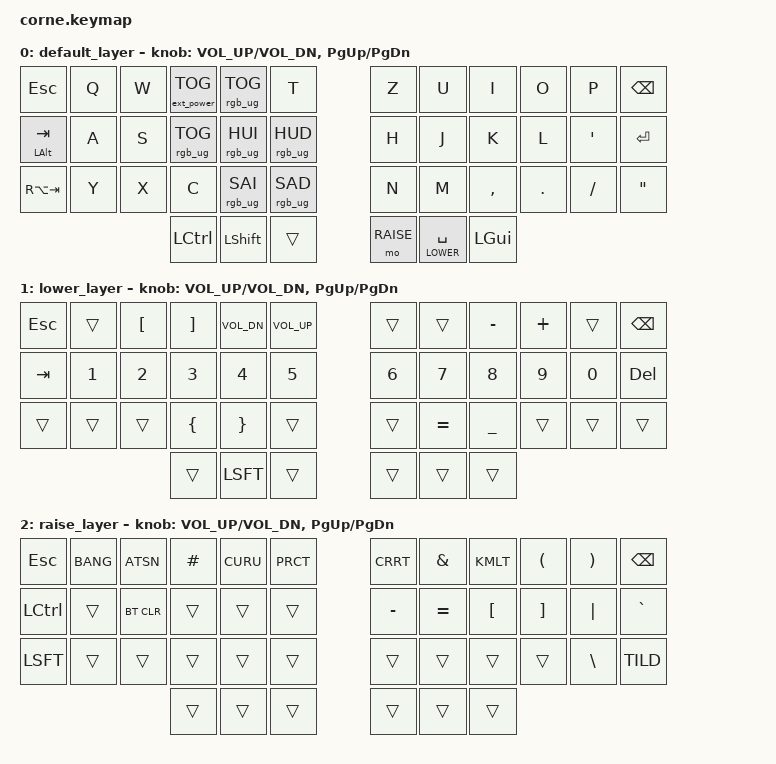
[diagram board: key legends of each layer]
#include <behaviors.dtsi>
#include <dt-bindings/zmk/keys.h>
#include <dt-bindings/zmk/bt.h>
#include <dt-bindings/zmk/rgb.h>
#include <dt-bindings/zmk/ext_power.h>


#define DEFAULT 0
#define LOWER   1
#define RAISE   2

&left_encoder { resolution = <2>; };
&left1_encoder { resolution = <2>; };
// &right_encoder { resolution = <1>; };


/ {
        keymap {
                compatible = "zmk,keymap";

                default_layer {
// -----------------------------------------------------------------------------------------
// |  TAB |  Q  |  W  |  E  |  R  |  T  |   |  Y  |  U   |  I  |  O  |  P  | BKSP |
// | CTRL |  A  |  S  |  D  |  F  |  G  |   |  H  |  J   |  K  |  L  |  ;  |  '   |
// | SHFT |  Z  |  X  |  C  |  V  |  B  |   |  N  |  M   |  ,  |  .  |  /  | SHFT |
//                    | GUI | LWR | SPC |   | ENT | RSE  | ALT |
                        bindings = <
   &kp ESC  &kp Q &kp W &ext_power EP_TOG &rgb_ug RGB_TOG &kp T   &kp Z &kp U  &kp I    &kp O   &kp P    &kp BKSP
   &mt LALT TAB &kp A &kp S &rgb_ug RGB_TOG &rgb_ug RGB_HUI &rgb_ug RGB_HUD   &kp H &kp J  &kp K    &kp L   &kp APOS &kp RET
   &kp RA(TAB) &kp Y &kp X &kp C &rgb_ug RGB_SAI &rgb_ug RGB_SAD   &kp N &kp M  &kp CMMA &kp DOT &kp FSLH &kp DQT
                   &kp LCTRL &kp LSHFT &trans   &mo RAISE &lt LOWER SPACE &kp LGUI
                        >;
                        sensor-bindings = <&inc_dec_kp C_VOL_UP C_VOL_DN &inc_dec_kp PG_UP PG_DN>;
                };
                lower_layer {
// -----------------------------------------------------------------------------------------
// |  ESC |  1  |  2  |  3  |  4  |  5  |   |  6  |  7  |  8  |  9  |  0  | BKSP |
// | BTCLR| BT1 | BT2 | BT3 | BT4 | BT5 |   | LFT | DWN |  UP | RGT |     |      |
// | SHFT |     |     |     |     |     |   |     |     |     |     |     |      |
//                    | GUI |     | SPC |   | ENT |     | ALT |
                        bindings = <
   &kp ESC    &trans     &kp LBKT       &kp RBKT     &kp C_VOL_DN   &kp C_VOL_UP         &trans &trans  &kp MINUS &kp PLUS  &trans  &kp BKSP
   &kp TAB     &kp NUM_1    &kp NUM_2    &kp NUM_3    &kp NUM_4    &kp NUM_5         &kp NUM_6 &kp NUM_7 &kp NUM_8 &kp NUM_9 &kp NUM_0 &kp DEL
   &trans   &trans       &trans       &kp LBRC       &kp RBRC &trans         &trans    &kp EQUAL  &kp UNDER     &trans  &trans    &trans
                                        &trans     &kp LSFT     &trans           &trans   &trans    &trans
                        >;
                        sensor-bindings = <&inc_dec_kp C_VOL_UP C_VOL_DN &inc_dec_kp PG_UP PG_DN>;
                };

                raise_layer {
// -----------------------------------------------------------------------------------------
// |  ESC |  !  |  @  |  #  |  $  |  %  |   |  ^  |  &  |  *  |  (  |  )  | BKSP |
// | CTRL |     |     |     |     |     |   |  -  |  =  |  {  |  }  | "|" |  `   |
// | SHFT |     |     |     |     |     |   |  _  |  +  |  [  |  ]  |  \  |  ~   | // TODO: Fix this row when &mkp is committed
//                    | GUI |     | SPC |   | ENT |     | ALT |
                        bindings = <
   &kp  ESC &kp BANG  &kp ATSN  &kp HASH  &kp CURU  &kp PRCT    &kp CRRT  &kp AMPS &kp KMLT &kp LPRN &kp RPRN &kp BKSP
   &kp LCTL &trans    &bt BT_CLR    &trans    &trans    &trans      &kp MINUS &kp EQL  &kp LBKT &kp RBKT &kp PIPE &kp GRAV
   &kp LSFT &trans    &trans    &trans    &trans    &trans      &trans    &trans   &trans   &trans   &kp BSLH &kp TILD
                                      &trans &trans &trans   &trans &trans &trans
                        >;
                        sensor-bindings = <&inc_dec_kp C_VOL_UP C_VOL_DN &inc_dec_kp PG_UP PG_DN>;
                };
        };
};


